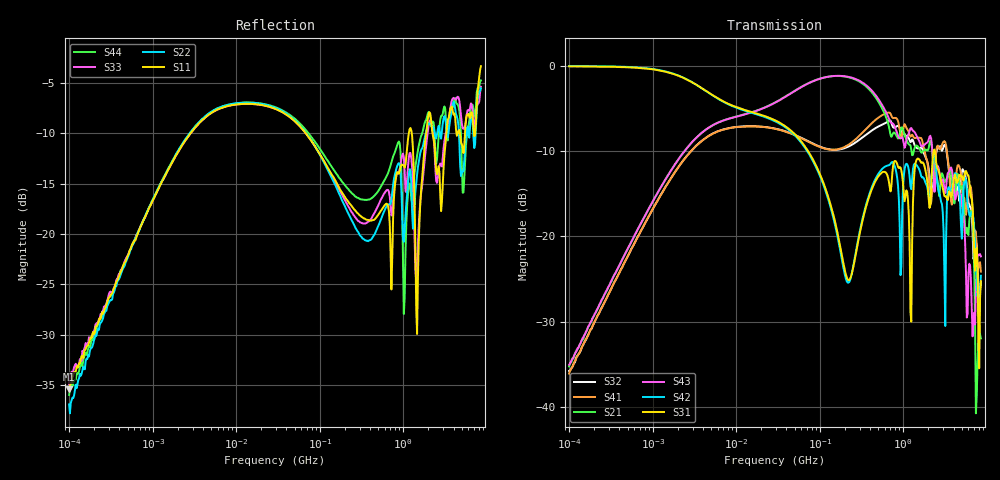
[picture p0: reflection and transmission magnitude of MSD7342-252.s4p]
# MHz S MA R 50
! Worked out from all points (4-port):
!   498 points, 100 kHz to 8.5 GHz, reference 50 ohm
!   strongest paths, dB at 100 kHz, 1.698 MHz, 29.49 MHz, 500.7 MHz, 8.5 GHz:
!     S31: -0.1, -0.9, -6.4, -13.0, -25.2
!     S42: 0.0, -0.9, -6.5, -12.7, -24.6
!     S43: -35.1, -12.1, -4.3, -3.9, -22.3
!     S21: -35.2, -12.1, -4.3, -4.2, -32.0
!     S41: -36.1, -13.0, -7.4, -6.1, -24.1
!     S32: -35.8, -13.0, -7.4, -7.1, -25.3
!   lowest |S11| = -35.4 dB at 100 kHz (marker M1), VSWR 1.03, Z = 50.3 + j1.68 ohm
!   |S11| at or under -10 dB: 67.81 MHz to 1.166 GHz (1.098 GHz wide, 178 % of centre); 1.262 GHz to 1.887 GHz (624.9 MHz wide, 39.7 % of centre); 2.242 GHz to 3.288 GHz (1.045 GHz wide, 37.8 % of centre)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
0.1  0.01702 79.9  0.01729 86.9  0.9929 -1.1  0.0157 -93.0
     0.01729 86.9  0.0143 91.8  0.01628 -93.4  0.9946 -1.0
     0.9929 -1.1  0.01628 -93.4  0.01799 89.2  0.01767 88.0
     0.0157 -93.0  0.9946 -1.0  0.01767 88.0  0.01593 93.5
4.330394  0.3798 30.5  0.4224 37.6  0.7143 -22.3  0.3783 -150.1
          0.4224 37.6  0.3855 30.6  0.3785 -150.4  0.7127 -22.9
          0.7143 -22.3  0.3785 -150.4  0.3797 30.2  0.4225 37.5
          0.3783 -150.1  0.7127 -22.9  0.4225 37.5  0.3852 31.0
142.5721  0.1939 -84.8  0.8697 -21.4  0.1392 -79.6  0.3222 75.3
          0.8697 -21.4  0.1859 -96.5  0.3219 67.5  0.1342 -80.4
          0.1392 -79.6  0.3219 67.5  0.1908 -99.0  0.8701 -20.6
          0.3222 75.3  0.1342 -80.4  0.8701 -20.6  0.2123 -86.4
790.5161  0.1703 42.5  0.4043 -138.7  0.277 -102.2  0.4951 -101.4
          0.4043 -138.7  0.1953 -0.3  0.4343 -100.7  0.2579 -125.0
          0.277 -102.2  0.4343 -100.7  0.176 18.7  0.4403 -144.3
          0.4951 -101.4  0.2579 -125.0  0.4403 -144.3  0.2531 8.8
1679.64  0.1867 -156.4  0.3098 111.2  0.271 138.2  0.367 107.0
         0.3098 111.2  0.2649 -168.8  0.3284 112.6  0.2216 111.3
         0.271 138.2  0.3284 112.6  0.1723 -164.2  0.3354 104.5
         0.367 107.0  0.2216 111.3  0.3354 104.5  0.3137 -159.9
6764.496  0.3835 -166.7  0.1269 124.1  0.1461 104.9  0.1455 111.9
          0.1269 124.1  0.362 177.6  0.1056 95.1  0.1355 97.2
          0.1461 104.9  0.1056 95.1  0.4036 167.2  0.02597 39.3
          0.1455 111.9  0.1355 97.2  0.02597 39.3  0.4367 159.7
8500  0.6787 -44.6  0.02522 -3.4  0.05468 -45.5  0.06218 -117.6
      0.02522 -3.4  0.5272 -64.7  0.05407 -98.9  0.0588 -80.6
      0.05468 -45.5  0.05407 -98.9  0.5362 -45.8  0.07639 12.2
      0.06218 -117.6  0.0588 -80.6  0.07639 12.2  0.577 -68.3
